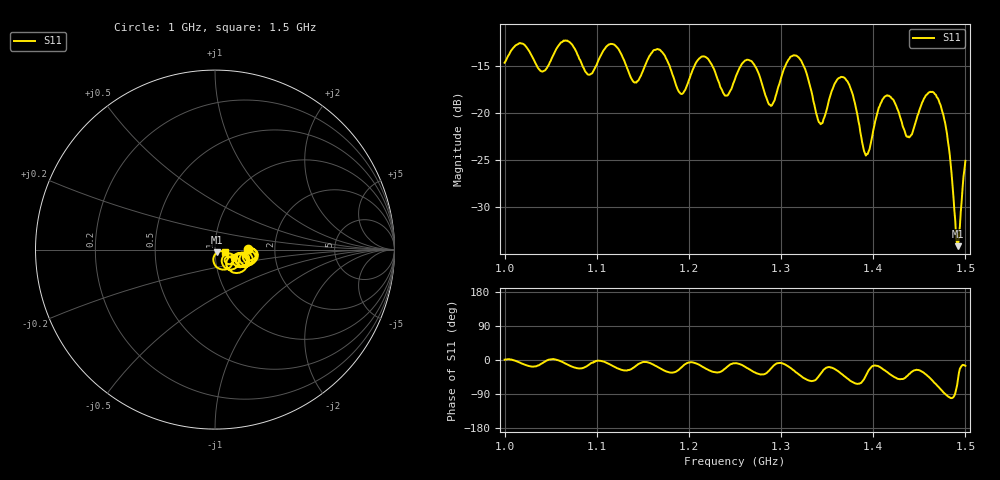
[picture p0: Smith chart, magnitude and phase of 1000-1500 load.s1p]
! NanoVNA-App by SYSJOINT et al v1.1.209 (+OD18)
! Date: 2025-09-17 10:18:51
! Start: 1GHz Stop: 1.5GHz Points: 501
! S-Parameter data: F S11
# Hz S RI R 50
!  Frequency  S11_Real  S11_Imag
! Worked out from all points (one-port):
!   501 points, 1 GHz to 1.5 GHz, reference 50 ohm
!   lowest |S11| = -34.1 dB at 1.492 GHz (marker M1), VSWR 1.04, Z = 51.3 - j1.54 ohm
!   |S11| at or under -10 dB: start of sweep to end of sweep
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1e9  0.1842 0.00253
1.018e9  0.2303 -0.0352
1.042e9  0.1649 -0.0199
1.063e9  0.2372 -0.0229
1.091e9  0.1549 -0.0367
1.112e9  0.225 -0.0353
1.125e9  0.1925 -0.0872
1.142e9  0.1388 -0.0416
1.168e9  0.2023 -0.0768
1.188e9  0.1175 -0.0612
1.215e9  0.1889 -0.0623
1.239e9  0.1134 -0.0488
1.25e9  0.1492 -0.023
1.267e9  0.1682 -0.0855
1.289e9  0.1004 -0.0419
1.313e9  0.1803 -0.089
1.325e9  0.1173 -0.1305
1.343e9  0.0704 -0.0512
1.361e9  0.1326 -0.0707
1.375e9  0.0787 -0.1116
1.392e9  0.0447 -0.0391
1.414e9  0.1064 -0.0616
1.438e9  0.0576 -0.0478
1.458e9  0.096 -0.0796
1.47e9  0.0426 -0.1117
1.481e9  -0.00724 -0.0705
1.492e9  0.0127 -0.0151
1.5e9  0.0537 -0.015
